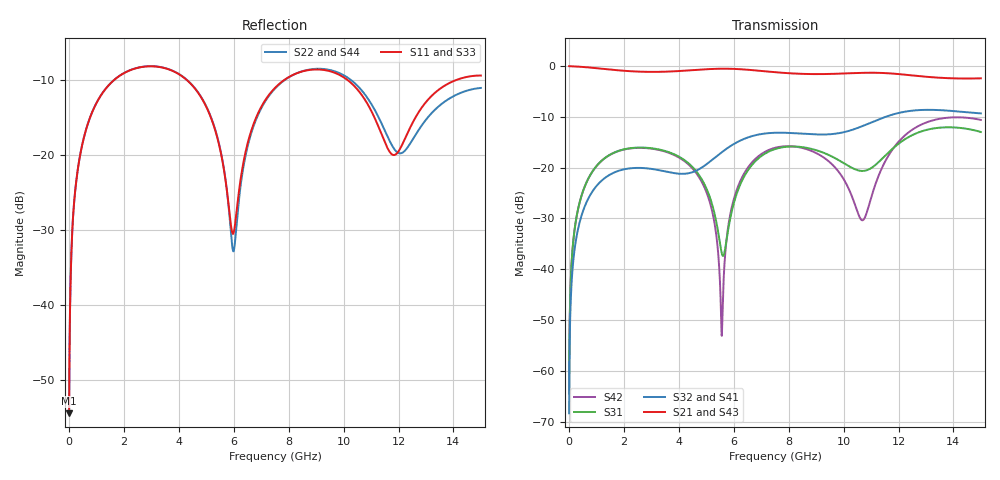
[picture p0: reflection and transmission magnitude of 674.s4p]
! Created with skrf 1.8.0 (http://scikit-rf.org).
# GHz S RI R 50.0
!freq ReS11 ImS11 ReS12 ImS12 ReS13 ImS13
! ReS14 ImS14
! ReS21 ImS21 ReS22 ImS22 ReS23 ImS23
! ReS24 ImS24
! ReS31 ImS31 ReS32 ImS32 ReS33 ImS33
! ReS34 ImS34
! ReS41 ImS41 ReS42 ImS42 ReS43 ImS43
! ReS44 ImS44
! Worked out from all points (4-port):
!   2499 points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, 5 MHz to 15 GHz, reference 50 ohm
!   strongest paths, dB at 5 MHz, 3.476 GHz, 7.19 GHz, 11.1 GHz, 15 GHz:
!     S21: 0.0, -1.1, -1.0, -1.3, -2.4
!     S43: 0.0, -1.1, -1.0, -1.3, -2.4
!     S32: -68.4, -20.7, -13.2, -10.9, -9.3
!     S41: -68.4, -20.7, -13.3, -10.9, -9.3
!     S31: -64.4, -16.7, -17.1, -19.7, -13.0
!     S42: -64.4, -16.8, -16.7, -24.3, -10.6
!   lowest |S11| = -54.5 dB at 5 MHz (marker M1), VSWR 1.00, Z = 50.2 + j0.115 ohm
!   |S11| at or under -10 dB: start of sweep to 1.627 GHz; 4.306 GHz to 7.819 GHz (3.513 GHz wide, 57.9 % of centre); 10.16 GHz to 14.07 GHz (3.905 GHz wide, 32.2 % of centre)
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0.005  0.0015 0.00114  0.9985 -0.00293  7.51e-05 0.000598  -7.3e-05 -0.000374
       0.9985 -0.00293  0.0015 0.00114  -7.3e-05 -0.000374  7.51e-05 0.000598
       7.51e-05 0.000598  -7.3e-05 -0.000374  0.0015 0.00114  0.9985 -0.00293
       -7.3e-05 -0.000374  7.51e-05 0.000598  0.9985 -0.00293  0.0015 0.00114
0.3126303  0.0207 0.0757  0.9717 -0.1826  0.00947 0.0358  -0.00784 -0.0223
           0.9717 -0.1826  0.0208 0.0757  -0.00784 -0.0223  0.00935 0.0358
           0.00947 0.0358  -0.00784 -0.0223  0.0207 0.0757  0.9717 -0.1826
           -0.00784 -0.0223  0.00935 0.0358  0.9717 -0.1826  0.0208 0.0757
1.519383  0.2372 0.1885  0.6172 -0.6867  0.1165 0.069  -0.0844 -0.0171
          0.6172 -0.6867  0.2376 0.1883  -0.0845 -0.0171  0.1149 0.0709
          0.1165 0.069  -0.0845 -0.0171  0.2372 0.1886  0.6172 -0.6867
          -0.0844 -0.0171  0.1149 0.0709  0.6172 -0.6867  0.2377 0.1883
5.564819  0.0473 -0.0842  -0.9008 -0.2773  -0.0133 -0.0054  -0.0377 0.1368
          -0.9008 -0.2773  0.0419 -0.0883  -0.0372 0.137  0.00219 0.000303
          -0.0133 -0.0054  -0.0372 0.137  0.0459 -0.0847  -0.9008 -0.2775
          -0.0377 0.1368  0.00219 0.000303  -0.9008 -0.2775  0.0433 -0.0881
6.583993  0.0764 0.1118  -0.8842 0.2448  0.0528 0.0849  0.0705 0.1882
          -0.8842 0.2448  0.0673 0.1114  0.0713 0.1883  0.0657 0.0833
          0.0528 0.0849  0.0713 0.1883  0.0739 0.1123  -0.8843 0.2447
          0.0705 0.1882  0.0657 0.0833  -0.8843 0.2447  0.0697 0.1106
9.553981  0.3543 -0.0739  0.1264 0.8282  0.0683 -0.1101  0.2009 -0.0706
          0.1264 0.8282  0.3628 -0.0684  0.2009 -0.0732  0.0767 -0.0782
          0.0683 -0.1101  0.2009 -0.0732  0.3553 -0.0687  0.1264 0.828
          0.2009 -0.0706  0.0767 -0.0782  0.1264 0.828  0.3626 -0.0737
15  0.3364 -0.0537  0.1956 -0.7322  0.2239 -0.0173  -0.3415 0.00741
    0.1956 -0.7322  0.2812 -0.0118  -0.3419 0.0109  0.273 -0.1121
    0.2239 -0.0173  -0.3419 0.0109  0.3336 -0.0564  0.1955 -0.7329
    -0.3415 0.00741  0.273 -0.1121  0.1955 -0.7329  0.2797 -0.0109
